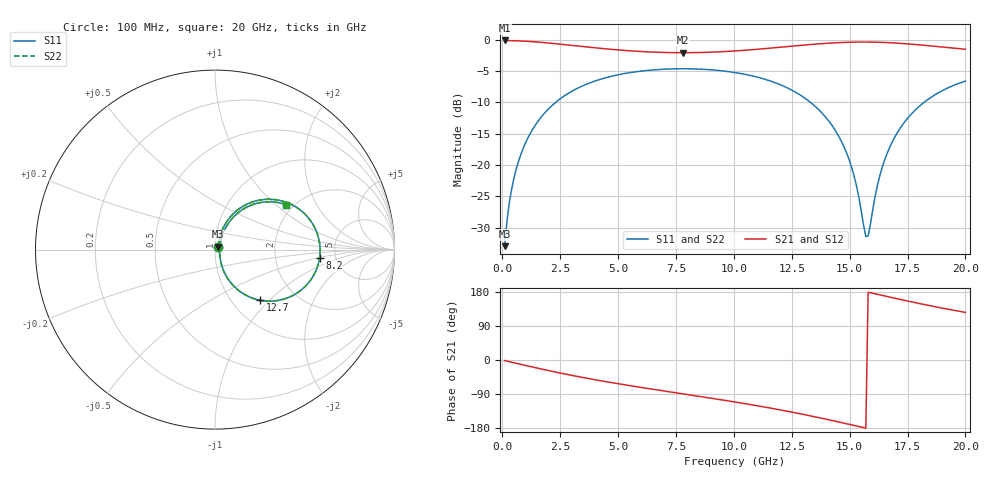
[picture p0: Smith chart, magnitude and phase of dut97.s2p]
! Touchstone file exported from HFSS 2026.1.0
!  File:  C:/ffzhzh/LocalFiles/Ansys_Project_Files/temp_train_TSV_RDL_97_1782973914_45748.aedt
!  Generated:  02:43:16 PM Jul  2, 2026
!  Design:  TSV_RDL
!  Project:  temp_train_TSV_RDL_97_1782973914_45748
! Variables:
!  h_bsmrdl = 5.29um
!  h_ox = 20um
!  h_rdl = 5um
!  h_sub = 70.85um
!  h_tmrdl = 5.26um
!  h_tsv = 70.85um
!  h_via = 3um
!  l_bsmrdl = 934.27um
!  l_sub = 3984.07um
!  l_tmrdl = 163.65um
!  m_sub = 200um
!  pitch = 51.12um
!  r_tsv = 3.9um
!  s_tmrdl = 10um
!  w_bsmrdl = 19.26um
!  w_sub = 500um
!  w_tmrdl = 22.96um
!  x_tsv_center1 = 175.13um
!  x_tsv_center2 = 1128.66um
!  x_tsv_center3 = 1315.27um
!  x_tsv_center4 = 2268.8um
!  x_tsv_center5 = 2455.41um
!  x_tsv_center6 = 3408.94um
# GHz S MA R 50.000000
! Terminal data exported
! Port[1] = TM_RDL1_1_T1
! Port[2] = TM_RDL5_1_T1
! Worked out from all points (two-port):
!   200 points, 100 MHz to 20 GHz, reference 50 ohm
!   highest |S21| = -0.14 dB at 100 MHz (marker M1); lowest = -2.1 dB at 7.8 GHz (marker M2)
!   |S21| within 3 dB of the highest: start of sweep to end of sweep
!   lowest |S11| = -32.9 dB at 100 MHz (marker M3), VSWR 1.05, Z = 51.6 + j1.6 ohm
!   |S11| at or under -10 dB: start of sweep to 2.306 GHz; 13.31 GHz to 18.21 GHz (4.906 GHz wide, 31.1 % of centre)
!   |S22| runs from -32.9 to -4.6 dB; largest |S21 - S12| = 1.7e-14
!   S11 on the Smith chart (normalised r, x): 100 MHz: 1.03, +0.03; 8.2 GHz: 3.74, -0.52; 12.7 GHz: 1.34, -0.88; 20 GHz: 1.82, +1.17
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0.1  0.02261 43.4  0.9839 -1.5  0.9839 -1.5  0.02261 43.4
! Gamma 0 0 0 0
! Port Impedance 50 0 50 0
0.3  0.04953 65.4  0.9818 -4.4  0.9818 -4.4  0.04953 65.4
0.5  0.07823 69.6  0.9794 -7.3  0.9794 -7.3  0.07823 69.6
1.1  0.1639 67.6  0.9677 -15.8  0.9677 -15.8  0.1639 67.6
2.1  0.2927 56.6  0.9352 -29.3  0.9352 -29.3  0.2927 56.6
3.5  0.4302 40.5  0.8789 -46.4  0.8789 -46.4  0.4302 40.5
6.8  0.5782 8.1  0.7911 -80.0  0.7911 -80.0  0.5782 8.0
7.8  0.5857 -0.9  0.7858 -89.4  0.7858 -89.4  0.5857 -0.9
8.2  0.5845 -4.5  0.7867 -93.1  0.7867 -93.1  0.5845 -4.5
10.1  0.5442 -21.9  0.8128 -111.3  0.8128 -111.3  0.5442 -21.9
12.7  0.3775 -48.4  0.8931 -139.8  0.8931 -139.8  0.3775 -48.4
13.4  0.3064 -55.9  0.9164 -148.6  0.9164 -148.6  0.3063 -56.0
14.3  0.1993 -64.8  0.9409 -160.4  0.9409 -160.4  0.1993 -64.9
14.9  0.1209 -67.8  0.9514 -168.6  0.9514 -168.6  0.1208 -68.0
15.3  0.06794 -63.1  0.955 -174.2  0.955 -174.2  0.06779 -63.4
15.7  0.02703 -15.2  0.9557 -179.8  0.9557 -179.8  0.02663 -15.4
15.8  0.0273 13.5  0.9554 178.8  0.9554 178.8  0.02691 13.7
16.2  0.06878 59.5  0.9523 173.3  0.9523 173.3  0.06862 59.9
16.7  0.1346 64.0  0.9445 166.4  0.9445 166.4  0.1345 64.2
17.3  0.2114 60.2  0.9301 158.3  0.9301 158.3  0.2113 60.4
18  0.2932 53.4  0.9083 149.2  0.9083 149.2  0.2932 53.5
20  0.467 32.5  0.8372 125.6  0.8372 125.6  0.467 32.5
